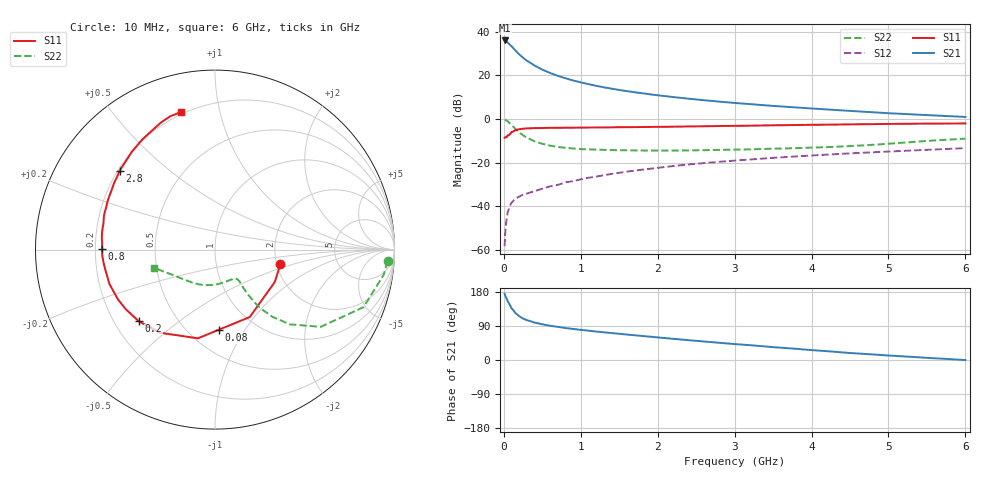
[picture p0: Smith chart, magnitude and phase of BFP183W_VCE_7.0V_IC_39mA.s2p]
! Infineon Technologies  Discrete & RF Semiconductors
! BFP183W
! VCE =  7.0 V,  IC =  39 mA
! Common Emitter S-Parameters:  Jan 2017
# GHz  S  MA  R  50
!  f  S11  S21  S12  S22
! GHz  MAG  ANG  MAG  ANG  MAG  ANG  MAG  ANG
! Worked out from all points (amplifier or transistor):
!   77 points, 10 MHz to 6 GHz, reference 50 ohm
!   highest |S21| = 36.1 dB at 10 MHz (marker M1)
!   |S21| within 3 dB of that: start of sweep to 108.7 MHz
!   unconditionally stable (mu >= 1): 849.8 MHz to 3.33 GHz
!   at 130 MHz: K = 0.34, MSG = 34.8 dB, |S12| = -37.3 dB
!   at 2.2 GHz: K = 1.06, MAG = 14.4 dB, |S12| = -21.6 dB
!   at 6 GHz: K = 0.85, MSG = 7.2 dB, |S12| = -13.4 dB
!   S11 on the Smith chart (normalised r, x): 10 MHz: 2.09, -0.40; 80 MHz: 0.69, -0.77; 200 MHz: 0.30, -0.37; 800 MHz: 0.23, +0.00; 2.8 GHz: 0.21, +0.35; 6 GHz: 0.19, +0.76
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0.01  0.3732 -12.8  63.5 174.9  0.0012 84.8  0.9638 -3.9
0.02  0.3789 -28.5  62.3 169.2  0.0027 89.3  0.9497 -8.6
0.05  0.4227 -62.7  57.5 155.0  0.0072 70.1  0.8875 -21.2
0.08  0.4473 -87.4  50.36 144.7  0.0101 64.9  0.7864 -29.4
0.1  0.5034 -100.9  46.71 136.3  0.012 62.8  0.73 -36.1
0.15  0.5547 -123.3  37.39 124.1  0.0148 53.4  0.5905 -44.9
0.2  0.5828 -136.7  30.42 115.5  0.0165 50.2  0.4923 -49.5
0.25  0.5978 -146.2  25.43 109.4  0.0183 49.8  0.4221 -51.9
0.3  0.6078 -152.9  21.71 105.1  0.0194 49.8  0.3711 -53.1
0.4  0.6184 -161.9  16.77 98.6  0.022 53.0  0.3063 -53.7
0.5  0.6202 -168.3  13.56 94.1  0.025 54.2  0.269 -53.5
0.6  0.6251 -173.1  11.41 90.4  0.0284 55.9  0.2443 -53.1
0.7  0.6287 -176.9  9.806 87.4  0.0306 59.0  0.2277 -52.5
0.8  0.6297 179.6  8.615 84.4  0.035 61.2  0.2179 -52.5
1.1  0.6362 171.7  6.3 77.4  0.0447 63.3  0.2007 -53.9
1.5  0.6464 163.2  4.633 69.2  0.0581 64.2  0.1917 -58.5
2.1  0.6619 151.7  3.342 57.8  0.0791 63.1  0.1881 -70.6
2.8  0.6888 140.4  2.502 45.4  0.1038 59.9  0.1951 -89.0
3.1  0.6981 135.9  2.261 40.6  0.114 58.5  0.1992 -97.2
4.1  0.7374 122.4  1.698 24.7  0.1484 52.3  0.2227 -124.1
5.1  0.7718 112.1  1.329 10.7  0.182 45.7  0.2778 -149.9
6  0.789 104.1  1.113 -0.2  0.214 39.5  0.3534 -163.4
